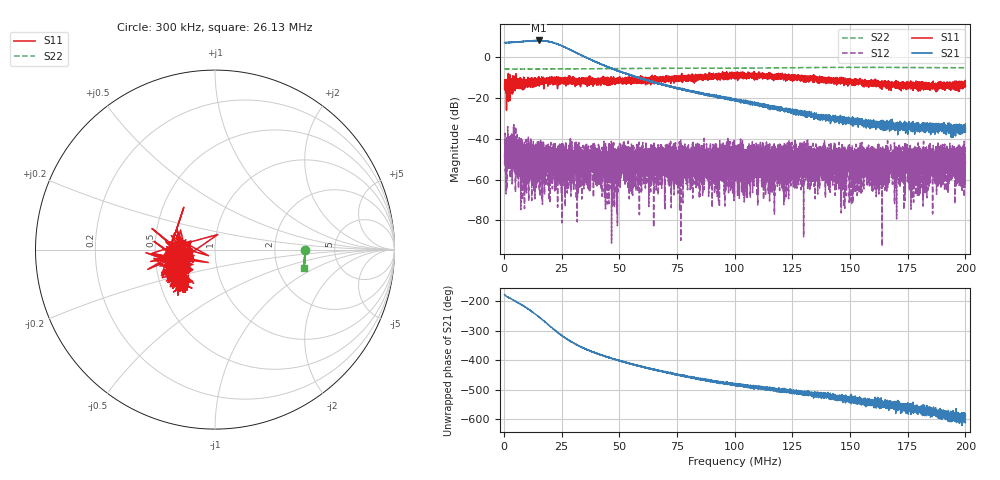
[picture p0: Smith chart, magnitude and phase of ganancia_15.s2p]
# Hz S DB R 50
! CMT, M5065, 19127446, 24.2.4/2
! Date: 11/8/2024 3:09:28 PM
! Data: Format (Calibration Info)
! Freq	S11:dB/Ang(F2)	S21:dB/Ang(F2)	S12:dB/Ang(F2)	S22:dB/Ang(F2)
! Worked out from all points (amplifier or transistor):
!   9000 points, 300 kHz to 200 MHz, reference 50 ohm
!   highest |S21| = 8.0 dB at 14.99 MHz (marker M1)
!   |S21| within 3 dB of that: start of sweep to 25.86 MHz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
!   unconditionally stable (mu >= 1): start of sweep to end of sweep
!   at 33.59 MHz: K = 116.55, MAG = 2.3 dB, |S12| = -51.2 dB
!   at 100.2 MHz: K = 1088.87, MAG = -19.5 dB, |S12| = -49.1 dB
!   at 200 MHz: K = 5485.65, MAG = -32.9 dB, |S12| = -49.5 dB
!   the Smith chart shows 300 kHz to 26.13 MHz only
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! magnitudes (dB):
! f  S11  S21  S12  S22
! 300 kHz  -13.2  6.9  -46.9  -6.0
! 2.43 MHz  -11.4  7.0  -43.3  -6.0
! 8.311 MHz  -12.8  7.5  -47.5  -6.0
! 14.99 MHz  -10.4  8.0  -54.3  -6.0
! 33.59 MHz  -12.4  0.7  -51.2  -5.9
! 66.87 MHz  -10.1  -13.0  -47.0  -5.6
! 82.9 MHz  -12.0  -17.3  -59.2  -5.6
! 91.2 MHz  -9.7  -19.2  -43.6  -5.6
! 96.92 MHz  -9.3  -20.1  -51.1  -5.6
! 100.2 MHz  -10.9  -21.3  -49.1  -5.5
! 133.4 MHz  -9.8  -28.3  -54.0  -5.3
! 144.7 MHz  -11.9  -30.4  -55.0  -5.2
! 146.4 MHz  -11.9  -31.9  -54.2  -5.2
! 149.6 MHz  -13.0  -30.7  -47.3  -5.2
! 151.1 MHz  -11.7  -31.2  -49.7  -5.2
! 155.3 MHz  -13.4  -30.4  -47.1  -5.2
! 166.7 MHz  -12.9  -31.7  -54.1  -5.2
! 175 MHz  -14.0  -33.2  -49.5  -5.2
! 182.3 MHz  -12.8  -33.4  -65.3  -5.3
! 186.4 MHz  -14.7  -34.3  -46.3  -5.3
! 198.8 MHz  -14.4  -34.6  -57.9  -5.4
! 200 MHz  -14.5  -34.6  -49.5  -5.3
